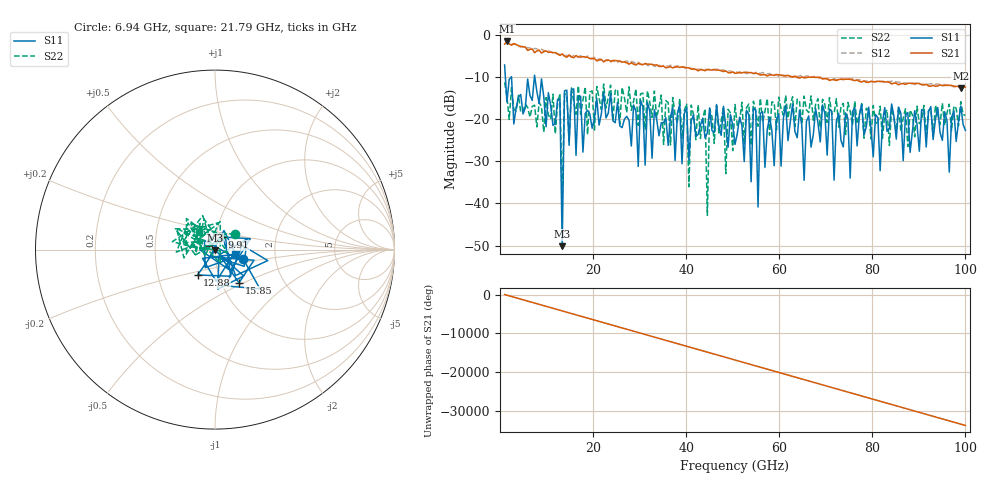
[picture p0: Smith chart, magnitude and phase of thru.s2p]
!Created with skrf (http://scikit-rf.org).
# GHz S RI R 50.0
!freq ReS11 ImS11 ReS21 ImS21 ReS12 ImS12 ReS22 ImS22
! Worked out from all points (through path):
!   201 points, 1 GHz to 100 GHz, reference 50 ohm
!   highest |S21| = -1.48 dB at 1.495 GHz (marker M1); lowest = -12.7 dB at 99.01 GHz (marker M2)
!   lowest |S11| = -50.1 dB at 13.38 GHz (marker M3), VSWR 1.01, Z = 50 - j0.31 ohm
!   |S11| at or under -10 dB: 1.161 GHz to 2.427 GHz (1.265 GHz wide, 70.5 % of centre); 2.488 GHz to 7.4 GHz (4.911 GHz wide, 99.3 % of centre); 7.489 GHz to end of sweep
!   |S22| runs from -42.8 to -11.3 dB; largest |S21 - S12| = 0.11
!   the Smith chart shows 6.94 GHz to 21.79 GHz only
!   S11 on the Smith chart (normalised r, x): 6.94 GHz: 1.37, -0.15; 9.91 GHz: 1.07, +0.15; 12.88 GHz: 0.79, -0.23; 15.85 GHz: 1.21, -0.47; 21.79 GHz: 1.25, -0.07
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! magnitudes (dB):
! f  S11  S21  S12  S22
! 1 GHz  -7.1  -2.2  -1.3  -11.3
! 1.495 GHz  -15.9  -1.5  -1.5  -14.6
! 6.94 GHz  -15.6  -3.4  -3.4  -17.0
! 9.91 GHz  -21.8  -3.8  -3.9  -14.9
! 12.88 GHz  -15.3  -4.9  -4.6  -13.9
! 13.38 GHz  -50.1  -4.5  -4.5  -39.4
! 13.87 GHz  -13.3  -5.0  -5.1  -13.9
! 15.85 GHz  -12.8  -5.4  -4.9  -15.9
! 17.83 GHz  -27.8  -5.2  -5.2  -15.5
! 21.79 GHz  -18.7  -5.9  -5.8  -17.7
! 34.16 GHz  -23.9  -7.5  -7.2  -17.1
! 40.1 GHz  -17.3  -7.8  -7.9  -16.3
! 40.6 GHz  -29.7  -7.8  -7.9  -36.0
! 41.09 GHz  -20.4  -8.2  -7.9  -16.7
! 44.06 GHz  -24.4  -8.5  -8.2  -17.5
! 44.56 GHz  -23.2  -8.2  -8.3  -42.8
! 45.05 GHz  -17.3  -8.3  -8.1  -17.5
! 50.5 GHz  -26.0  -9.1  -8.8  -16.5
! 67.33 GHz  -23.7  -10.0  -9.9  -20.3
! 83.67 GHz  -22.1  -11.3  -11.1  -26.2
! 99.01 GHz  -16.9  -12.7  -12.5  -15.9
! 100 GHz  -22.6  -12.4  -12.4  -19.1
